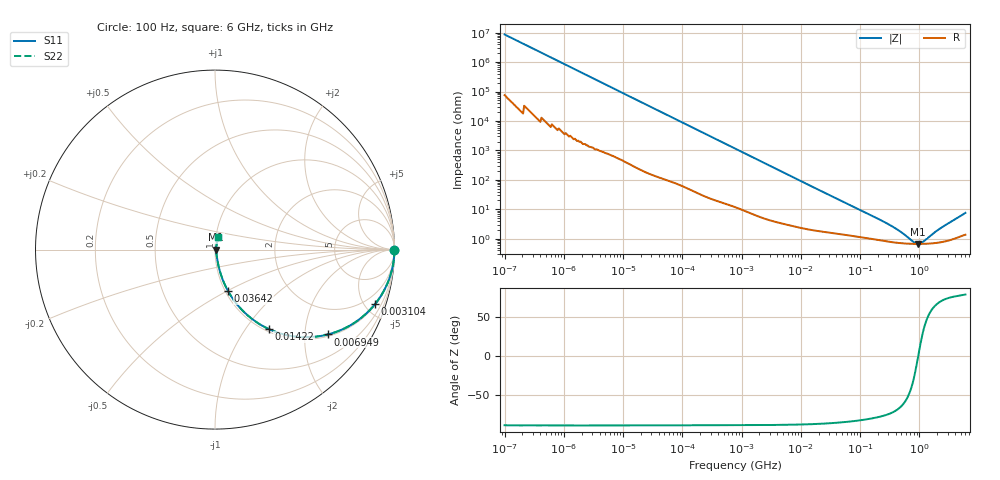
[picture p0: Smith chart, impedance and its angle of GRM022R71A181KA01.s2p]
!Murata Part Number: GRM022R71A181KA01
!These Parameters are Measured in Series Mode Connection
!Data Generated on Mar 30, 2021
!  o--ll--o
!Port1  Port2
!  o------o
!Operation Temp=25[degC], DC Bias Voltage=0[V]
!Freq. Start=100[Hz] Stop=6[GHz] 401[Steps]
# Hz S RI R 50
!Freq.(Hz) S11(Real) S11(Imag) S21(Real) S21(Imag) S12(Real) S12(Imag) S22(Real) S22(Imag)
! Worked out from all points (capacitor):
!   401 points, 100 Hz to 6 GHz, reference 50 ohm
!   read as one part in series: C = 183 pF near 109 Hz
!   lowest |Z| = 668 mohm at 957 MHz (marker M1)
!   series resonance near 958.9 MHz, so ESL is about 150 pH
!   S11 on the Smith chart (normalised r, x): 100 Hz: open; 3.104 MHz: 1.08, -5.82; 6.949 MHz: 1.06, -2.62; 14.22 MHz: 1.04, -1.29; 36.42 MHz: 1.03, -0.51; 6 GHz: 1.03, +0.15
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100  1 -1.15e-05  1e-07 1.15e-05  1e-07 1.15e-05  1 -1.15e-05
820  1 -9.37e-05  5e-07 9.37e-05  5e-07 9.37e-05  1 -9.37e-05
2008  1 -0.000229  1e-06 0.000229  1e-06 0.000229  1 -0.000229
40335  1 -0.00456  4.59e-05 0.00456  4.59e-05 0.00456  1 -0.00456
774597  0.9917 -0.0856  0.00828 0.0856  0.00828 0.0856  0.9917 -0.0856
1734173  0.9622 -0.1848  0.0378 0.1848  0.0378 0.1848  0.9622 -0.1848
3103719  0.8911 -0.3045  0.1089 0.3045  0.1089 0.3045  0.8911 -0.3045
4643984  0.788 -0.4003  0.212 0.4003  0.212 0.4003  0.788 -0.4003
6948629  0.6286 -0.4728  0.3714 0.4728  0.3714 0.4728  0.6286 -0.4728
9941735  0.458 -0.4856  0.542 0.4856  0.542 0.4856  0.458 -0.4856
1.422411e7  0.2984 -0.4421  0.7016 0.4421  0.7016 0.4421  0.2984 -0.4421
1.555665e7  0.2642 -0.4245  0.7358 0.4245  0.7358 0.4245  0.2642 -0.4245
2.327686e7  0.1458 -0.3316  0.8542 0.3316  0.8542 0.3316  0.1458 -0.3316
3.64232e7  0.0732 -0.2319  0.9268 0.2319  0.9268 0.2319  0.0732 -0.2319
9.326766e7  0.0213 -0.0979  0.9787 0.0979  0.9787 0.0979  0.0213 -0.0979
3.124326e8  0.00864 -0.0284  0.9914 0.0284  0.9914 0.0284  0.00864 -0.0284
4.888888e8  0.00727 -0.0153  0.9927 0.0153  0.9927 0.0153  0.00727 -0.0153
8.000355e8  0.00667 -0.00388  0.9933 0.00388  0.9933 0.00388  0.00667 -0.00388
9.569533e8  0.00663 -4.21e-05  0.9934 4.21e-05  0.9934 4.21e-05  0.00663 -4.21e-05
1.144649e9  0.00668 0.00381  0.9933 -0.00381  0.9933 -0.00381  0.00668 0.00381
2.240541e9  0.0079 0.0206  0.9921 -0.0206  0.9921 -0.0206  0.0079 0.0206
6e9  0.0189 0.0722  0.9811 -0.0722  0.9811 -0.0722  0.0189 0.0722
